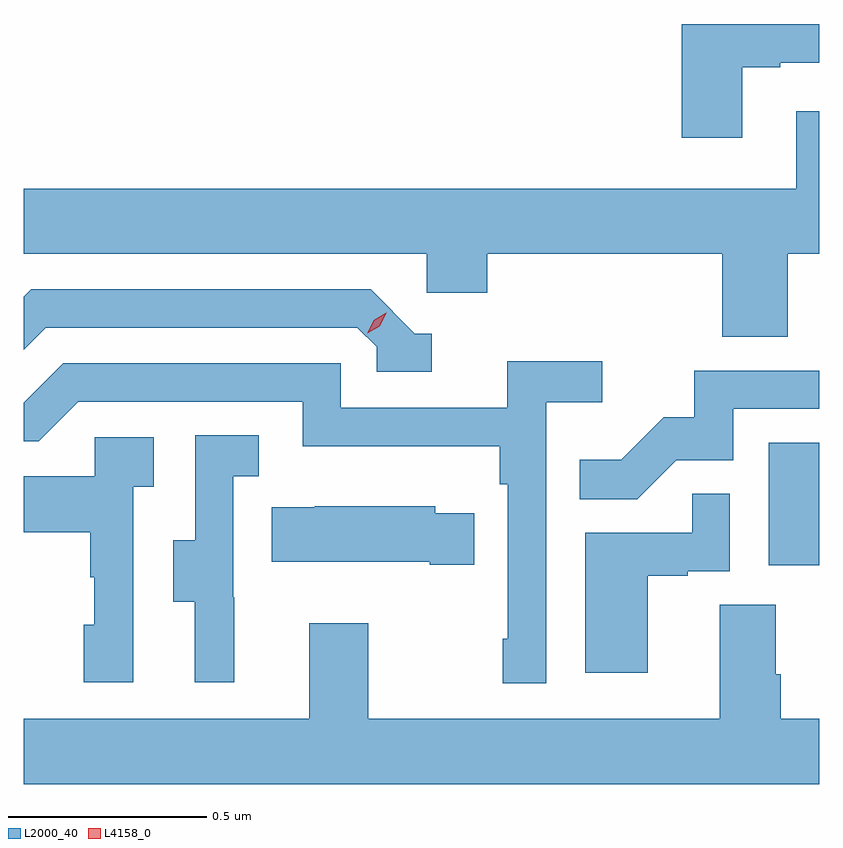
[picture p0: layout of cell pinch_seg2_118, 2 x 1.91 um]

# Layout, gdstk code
import gdstk
lib = gdstk.Library(unit=1e-6, precision=1e-09)
def R(c, l, rs):  # rectangles x0, y0, x1, y1
    for r in rs: c.add(gdstk.rectangle(r[:2], r[2:], *l))
def P(c, l, *ps):  # polygons
    for p in ps: c.add(gdstk.Polygon(p, *l))
L2000_40 = (2000, 40)
L4158_0 = (4158, 0)

pinch_seg2_118 = lib.new_cell('pinch_seg2_118')
R(pinch_seg2_118, L2000_40, [(1032.272,630.87,1032.399,631.177)])
P(pinch_seg2_118, L2000_40, [(1032.205,632.121),(1032.301,632.121),(1032.301,632.133),(1032.399,632.133),(1032.399,632.23),(1032.053,632.23),(1032.053,631.944),(1032.205,631.944)],
  [(1032.32,631.652),(1032.399,631.652),(1032.399,632.011),(1032.341,632.011),(1032.341,631.816),(1030.399,631.816),(1030.399,631.652),(1031.412,631.652),(1031.412,631.554),(1031.564,631.554),(1031.564,631.652),(1032.155,631.652),(1032.155,631.444),(1032.32,631.444)],
  [(1031.425,631.452),(1031.382,631.452),(1031.271,631.563),(1030.418,631.563),(1030.399,631.544),(1030.399,631.411),(1030.455,631.467),(1031.238,631.467),(1031.286,631.419),(1031.286,631.356),(1031.425,631.356)],
  [(1031.712,631.28),(1031.853,631.28),(1031.853,631.382),(1031.615,631.382),(1031.615,631.266),(1031.196,631.266),(1031.196,631.377),(1030.499,631.377),(1030.4,631.278),(1030.399,631.278),(1030.399,631.182),(1030.437,631.182),(1030.536,631.281),(1031.1,631.281),(1031.1,631.169),(1031.596,631.169),(1031.596,631.073),(1031.616,631.073),(1031.616,630.685),(1031.603,630.685),(1031.603,630.573),(1031.712,630.573)],
  [(1032.039,631.134),(1032.183,631.134),(1032.183,631.263),(1032.399,631.263),(1032.399,631.359),(1032.085,631.359),(1032.085,631.242),(1032.008,631.242),(1031.901,631.135),(1031.797,631.135),(1031.797,631.036),(1031.941,631.036)],
  [(1030.928,630.789),(1030.926,630.789),(1030.926,631.093),(1030.99,631.093),(1030.99,631.196),(1030.83,631.196),(1030.83,630.933),(1030.775,630.933),(1030.775,630.778),(1030.829,630.778),(1030.829,630.576),(1030.928,630.576)],
  [(1030.674,631.067),(1030.726,631.067),(1030.726,631.191),(1030.578,631.191),(1030.578,631.093),(1030.399,631.093),(1030.399,630.953),(1030.566,630.953),(1030.566,630.839),(1030.576,630.839),(1030.576,630.72),(1030.55,630.72),(1030.55,630.576),(1030.674,630.576)],
  [(1031.968,630.843),(1032.068,630.843),(1032.068,630.855),(1032.174,630.855),(1032.174,631.049),(1032.079,631.049),(1032.079,630.951),(1031.81,630.951),(1031.81,630.6),(1031.968,630.6)],
  [(1031.531,631),(1031.433,631),(1031.433,631.018),(1031.131,631.018),(1031.131,631.015),(1031.023,631.015),(1031.023,630.878),(1031.42,630.878),(1031.42,630.871),(1031.531,630.871)],
  [(1032.399,630.484),(1032.302,630.484),(1032.302,630.596),(1032.289,630.596),(1032.289,630.77),(1032.149,630.77),(1032.149,630.484),(1031.265,630.484),(1031.265,630.724),(1031.117,630.724),(1031.117,630.484),(1030.399,630.484),(1030.399,630.32),(1032.399,630.32)])
P(pinch_seg2_118, L4158_0, [(1031.263,631.453),(1031.263,631.453),(1031.279,631.485),(1031.31,631.504),(1031.31,631.504),(1031.31,631.504),(1031.294,631.471),(1031.263,631.453)])

lib.write_gds('pinch_seg2_118.gds')
